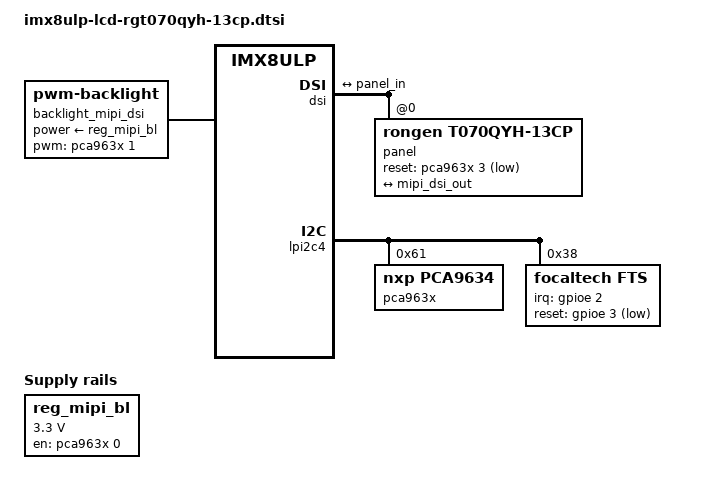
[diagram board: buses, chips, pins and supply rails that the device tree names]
// SPDX-License-Identifier: GPL-2.0+
/*
 * Copyright 2022 NXP
 */

/ {


      reg_mipi_bl: backlight_mipi {
			compatible = "regulator-fixed";
			regulator-name = "mipi-bl";
			gpio = <&pca963x 0 0>;
			regulator-min-microvolt = <3300000>;
			regulator-max-microvolt = <3300000>;
			enable-active-high;
		};



	backlight_mipi_dsi: backlight_mipi_dsi {
		compatible = "pwm-backlight";
		pwms = <&pca963x 1 640000 PWM_POLARITY_INVERTED>;
		power-supply = <&reg_mipi_bl>;
		brightness-levels = <0 1 5 10 18 28 41 56
				     73 92 113 137 163 192 222 255>;
		default-brightness-level = <15>;

	};

};



&dsi {
	status = "okay";

	panel@0 {
		status = "okay";
		compatible = "rongen,t070qyh-13cp";
        reg = <0>;
		pinctrl-names = "default";
		pinctrl-0 = <&pinctrl_dsi>;
		reset-gpios = <&pca963x 3 GPIO_ACTIVE_LOW>;
		dsi-lanes = <4>;
		/* Video mode
		 * 0: burst mode
		 * 1: non-burst mode with sync event
		 * 2: non-burst mode with sync pulse
		 */
		video-mode = <0>;
		panel-width-mm = <94>;
		panel-height-mm = <150>;

		display-timings {
			timing {
				//clock-frequency = <72000000>;
				clock-frequency = <80000000>;
				hactive = <800>;
				vactive = <1280>;
				hback-porch = <72>;
				hfront-porch = <56>;
				vback-porch = <38>;
				vfront-porch = <3>;
				hsync-len = <128>;
				vsync-len = <10>;
				hsync-active = <0>;
				vsync-active = <0>;
				de-active = <0>;
				pixelclk-active = <0>;
			};
		};


		port {
			panel_in: endpoint {
				remote-endpoint = <&mipi_dsi_out>;
			};
		};
	};

	ports {
		port@1 {
			reg = <1>;

			mipi_dsi_out: endpoint {
				remote-endpoint = <&panel_in>;
			};
		};
	};
};

&lpi2c4 {
	pca963x: pca9634@61 {
		compatible = "nxp,pca9634";
		//status = "disabled";
		status = "okay";
		reg = <0x61>;
		nxp,totem-pole;
		#address-cells = <1>;
		#size-cells = <0>;
		#pwm-cells = <3>;
		#gpio-cells = <2>;
		led@0 {
			reg = <0>;
			label = "BL_ON";
			type = "GPIO";
			active-high;
			default-on;		/* or: keep-value */
		};
		led@1 {
			reg = <1>;
			label = "BL_PWM";
			type = "PWM";
			active-high;
		};
		led@2 {
			reg = <2>;
			label = "2-unused";
			type = "LED";
			active-low;
		};
		led@3 {
			reg = <3>;
			label = "MIPI_RST";
			type = "GPIO";
			active-high;
			default-on;		/* or: keep-value */
		};
		led@4 {
			reg = <4>;
			label = "4-unused";
			type = "LED";
			active-low;
		};
		led@5 {
			reg = <5>;
			label = "TOUCH_RST";
			type = "GPIO";
			active-high;
			default-on;		/* or: keep-value */
		};
		led@6 {
			reg = <6>;
			label = "6-unused";
			type = "LED";
			active-low;
		};
		led@7 {
			reg = <7>;
			label = "7-unused";
			type = "LED";
			active-low;
		};
	};

	focaltech@38 {
		//status = "disabled";
		status = "okay";
		compatible = "focaltech,fts";
		reg = <0x38>;
		pinctrl-names = "default";
		pinctrl-0 = <&pinctrl_touch>;
		pinctrl-1 = <&pinctrl_touch>;
		interrupt-parent = <&gpioe>;
		interrupts = <2 IRQ_TYPE_EDGE_FALLING>;
		focaltech,irq-gpio = <&gpioe 2 IRQ_TYPE_EDGE_FALLING>;
		focaltech,swap-xy;
		focaltech,touchscreen-inverted-y;
		focaltech,reset-gpio = <&gpioe 3 GPIO_ACTIVE_LOW>;
		focaltech,num-max-touches = <10>;
		focaltech,display-coords = <0 0 800 1280>;
	};

};



&iomuxc1 {
	pinctrl_dsi: dsigrp {
		fsl,pins = <
			MX8ULP_PAD_PTE9__PTE9		0x3
		>;
	};

	pinctrl_touch: touchgrp {
		fsl,pins = <
			MX8ULP_PAD_PTE2__PTE2	0x3 //int
			MX8ULP_PAD_PTE5__PTE5  0x3 //reset
		>;
	};

};
